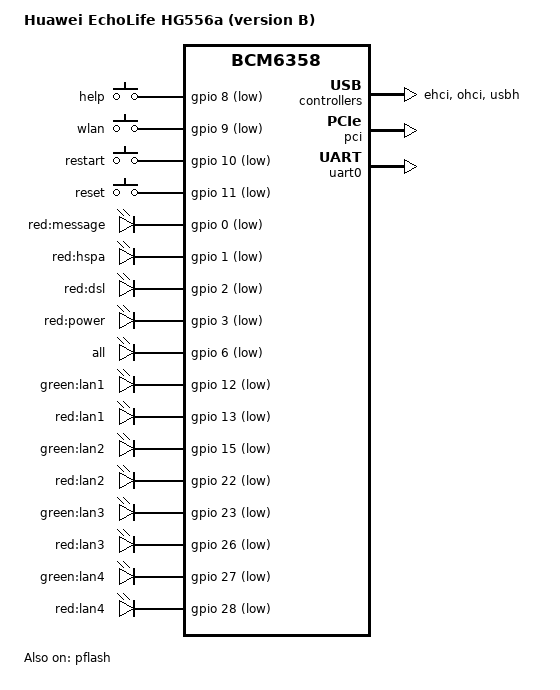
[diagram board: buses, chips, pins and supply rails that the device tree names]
// SPDX-License-Identifier: GPL-2.0-or-later

#include "bcm6358.dtsi"

/ {
	compatible = "huawei,hg556a-b", "brcm,bcm6358";
	model = "Huawei EchoLife HG556a (version B)";

	aliases {
		led-boot = &led_power_red;
		led-failsafe = &led_power_red;
		led-running = &led_power_red;
		led-upgrade = &led_power_red;

		led-dsl = &led_dsl_red;
		led-usb = &led_hspa_red;
	};

	keys {
		compatible = "gpio-keys-polled";
		poll-interval = <20>;

		help {
			label = "help";
			gpios = <&gpio 8 GPIO_ACTIVE_LOW>;
			linux,code = <KEY_HELP>;
			debounce-interval = <60>;
		};

		wlan {
			label = "wlan";
			gpios = <&gpio 9 GPIO_ACTIVE_LOW>;
			linux,code = <KEY_WLAN>;
			debounce-interval = <60>;
		};

		restart {
			label = "restart";
			gpios = <&gpio 10 GPIO_ACTIVE_LOW>;
			linux,code = <KEY_RESTART>;
			debounce-interval = <60>;
		};

		reset {
			label = "reset";
			gpios = <&gpio 11 GPIO_ACTIVE_LOW>;
			linux,code = <KEY_CONFIG>;
			debounce-interval = <60>;
		};
	};

	leds {
		compatible = "gpio-leds";

		led@0 {
			label = "red:message";
			gpios = <&gpio 0 GPIO_ACTIVE_LOW>;
		};

		led_hspa_red: led@1 {
			label = "red:hspa";
			gpios = <&gpio 1 GPIO_ACTIVE_LOW>;
		};

		led_dsl_red: led@2 {
			label = "red:dsl";
			gpios = <&gpio 2 GPIO_ACTIVE_LOW>;
		};

		led_power_red: led@3 {
			label = "red:power";
			gpios = <&gpio 3 GPIO_ACTIVE_LOW>;
		};

		led@6 {
			label = "all";
			gpios = <&gpio 6 GPIO_ACTIVE_LOW>;
			default-state = "on";
		};

		led@12 {
			label = "green:lan1";
			gpios = <&gpio 12 GPIO_ACTIVE_LOW>;
		};

		led@13 {
			label = "red:lan1";
			gpios = <&gpio 13 GPIO_ACTIVE_LOW>;
		};

		led@15 {
			label = "green:lan2";
			gpios = <&gpio 15 GPIO_ACTIVE_LOW>;
		};

		led@22 {
			label = "red:lan2";
			gpios = <&gpio 22 GPIO_ACTIVE_LOW>;
		};

		led@23 {
			label = "green:lan3";
			gpios = <&gpio 23 GPIO_ACTIVE_LOW>;
		};

		led@26 {
			label = "red:lan3";
			gpios = <&gpio 26 GPIO_ACTIVE_LOW>;
		};

		led@27 {
			label = "green:lan4";
			gpios = <&gpio 27 GPIO_ACTIVE_LOW>;
		};

		led@28 {
			label = "red:lan4";
			gpios = <&gpio 28 GPIO_ACTIVE_LOW>;
		};
	};

	ath9k-fixup {
		compatible = "brcm,ath9k-fixup";
		reg = <0x30000000 0x8000000>;

		pci-dev = <1>;

		mtd-mac-address = <&cfe 0x6a0>;
		mtd-mac-address-increment = <1>;

		ath,eeprom = <&cal_data 0x1e000>;
		ath,endian-check;
		ath,led-pin = <2>;
		ath,led-active-high;
	};
};

&ehci {
	status = "okay";
};

&ohci {
	status = "okay";
};

&pci {
	status = "okay";
};

&pflash {
	status = "okay";

	partitions {
		compatible = "fixed-partitions";
		#address-cells = <1>;
		#size-cells = <1>;

		cfe: partition@0 {
			label = "cfe";
			reg = <0x000000 0x020000>;
			read-only;
		};

		partition@20000 {
			label = "firmware";
			reg = <0x020000 0xec0000>;
			compatible = "brcm,bcm963xx-imagetag";
		};

		cal_data: partition@ee0000 {
			label = "cal_data";
			reg = <0xee0000 0x100000>;
			read-only;
		};

		partition@fe0000 {
			label = "nvram";
			reg = <0xfe0000 0x020000>;
		};
	};
};

&uart0 {
	status = "okay";
};

&usbh {
	status = "okay";
};
